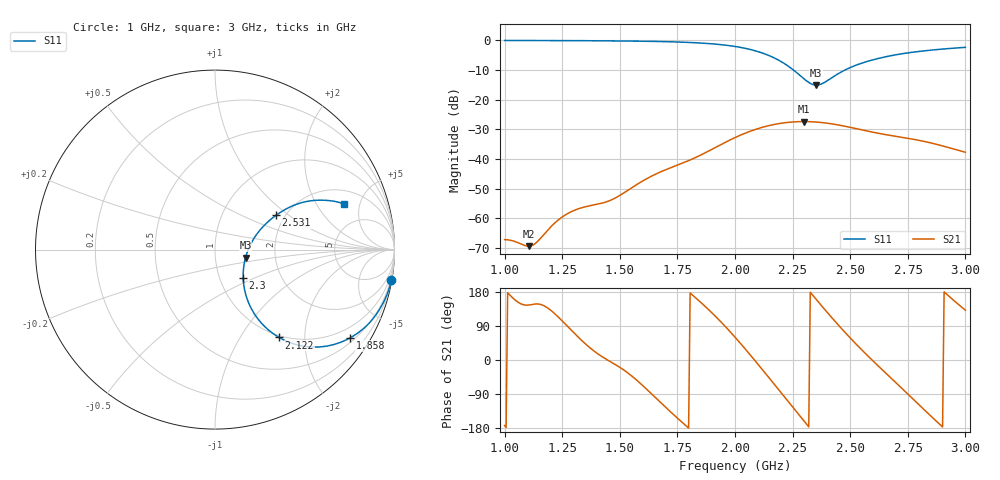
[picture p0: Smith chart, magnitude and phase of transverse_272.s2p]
! TOUCHSTONE file generated by CST MICROWAVE STUDIO
! Date and time: Tue Mar 11 13:58:21 2025
! Project name: transverse.cst
! Parameters = {Fracture=5; B=12.5; D=160; F=15; Feed=2.85625; L=100; M=20; R=0.384908; S=2; Theta=270; length=57.125; wave=114.25}
! Header version: 2024
! Port assignment regex: !\s*Touchstone port\s*([0-9]+)\s*=\s*(CST MWS port|CST DES external port|CST DES block port)\s*(.+)\s* \(\"(.*)\"\)(\s*mode\s*([0-9]+))?.*
! Touchstone port assignment:
! Touchstone port 1 = CST MWS port 1 ("")
! Touchstone port 2 = CST MWS port 2 ("")
# GHz S MA R 50
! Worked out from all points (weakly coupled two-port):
!   304 points, 1 GHz to 3 GHz, reference 50 ohm
!   highest |S21| = -27.39 dB at 2.3 GHz (marker M1); lowest = -69.4 dB at 1.106 GHz (marker M2)
!   lowest |S11| = -15.1 dB at 2.353 GHz (marker M3), VSWR 1.43, Z = 70.1 - j6.53 ohm
!   |S11| at or under -10 dB: 2.254 GHz to 2.477 GHz (223.4 MHz wide, 9.45 % of centre)
!   S12 and S22 are empty: the file has one direction only
!   S11 on the Smith chart (normalised r, x): 1 GHz: 0, -12; 1.858 GHz: 0.63, -3.25; 2.122 GHz: 0.97, -1.50; 2.3 GHz: 1.29, -0.43; 2.531 GHz: 1.80, +0.81; 3 GHz: 2.93, +3.55
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1  0.9977 -9.8  0.0004346 -173.1  0 0.0  0 0.0
1.10561  0.9962 -11.2  0.0003371 145.0  0 0.0  0 0.0
1.13861  0.9956 -11.7  0.0003899 148.0  0 0.0  0 0.0
1.20462  0.994 -12.8  0.0007424 129.1  0 0.0  0 0.0
1.24422  0.9928 -13.5  0.001009 106.7  0 0.0  0 0.0
1.29043  0.9911 -14.3  0.001293 78.1  0 0.0  0 0.0
1.33663  0.9892 -15.2  0.001508 50.4  0 0.0  0 0.0
1.46205  0.9819 -17.9  0.002023 -5.3  0 0.0  0 0.0
1.66667  0.9587 -24.1  0.0058 -106.1  0 0.0  0 0.0
1.85809  0.899 -33.2  0.01198 148.4  0 0.0  0 0.0
2.0033  0.7865 -43.7  0.02322 58.0  0 0.0  0 0.0
2.12211  0.6059 -53.9  0.03445 -27.8  0 0.0  0 0.0
2.21452  0.4063 -58.5  0.04072 -97.3  0 0.0  0 0.0
2.30033  0.2232 -45.3  0.04271 -161.7  0 0.0  0 0.0
2.33993  0.179 -23.8  0.04224 169.1  0 0.0  0 0.0
2.35314  0.1759 -14.9  0.04191 159.4  0 0.0  0 0.0
2.37954  0.1873 1.6  0.04099 140.4  0 0.0  0 0.0
2.43894  0.2608 22.0  0.03798 98.8  0 0.0  0 0.0
2.53135  0.3895 29.3  0.03211 38.3  0 0.0  0 0.0
2.66997  0.5453 28.5  0.02508 -43.5  0 0.0  0 0.0
2.83498  0.675 24.0  0.01921 -139.2  0 0.0  0 0.0
3  0.7633 19.4  0.01296 131.4  0 0.0  0 0.0
